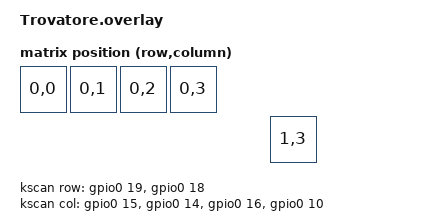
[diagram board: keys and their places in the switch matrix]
#include <dt-bindings/zmk/matrix_transform.h>

/ {
    kscan: kscan {
        compatible = "zmk,kscan-gpio-matrix";
        diode-direction = "col2row";
        
        col-gpios
            = <&gpio0 15 GPIO_ACTIVE_HIGH>
            , <&gpio0 14 GPIO_ACTIVE_HIGH>
            , <&gpio0 16 GPIO_ACTIVE_HIGH>
            , <&gpio0 10 GPIO_ACTIVE_HIGH>
            ;
        
        row-gpios
            = <&gpio0 19 (GPIO_ACTIVE_HIGH | GPIO_PULL_DOWN)>
            , <&gpio0 18 (GPIO_ACTIVE_HIGH | GPIO_PULL_DOWN)>
            ;
    };
    
    default_transform: matrix_transform {
        compatible = "zmk,matrix-transform";
        columns = <4>;
        rows = <2>;
        map = <
            RC(0,0) RC(0,1) RC(0,2) RC(0,3)
                                                     RC(1,3)
        >;
    };
    
    physical_layout: physical_layout { 
        compatible = "zmk,physical-layout";
        display-name = "Default Layout";
        transform = <&default_transform>; 
    };
    
    chosen {
        zmk,kscan = &kscan;
        zmk,physical-layout = &physical_layout;
        zephyr,display = &oled_1;
    };
};

&i2c0 {
    compatible = "nordic,nrf-twim";
    status = "okay";
    clock-frequency = <100000>;

    oled_1: ssd1306@3c {
        compatible = "solomon,ssd1306fb";
        reg = <0x3c>;
        width = <128>;
        height = <32>;
        segment-offset = <0>;
        page-offset = <0>;
        display-offset = <0>;
        multiplex-ratio = <31>;
        prechargep = <0x22>;
        status = "okay";
    };
};

&i2c1 {
    compatible = "nordic,nrf-twim";
    status = "okay";
    clock-frequency = <100000>;

    oled_2: ssd1306@3c {
        compatible = "solomon,ssd1306fb";
        reg = <0x3c>;
        width = <128>;
        height = <32>;
        segment-offset = <0>;
        page-offset = <0>;
        display-offset = <0>;
        multiplex-ratio = <31>;
        com-invdir;
        segment-remap;
        prechargep = <0x22>;
        status = "okay";
    };
};
